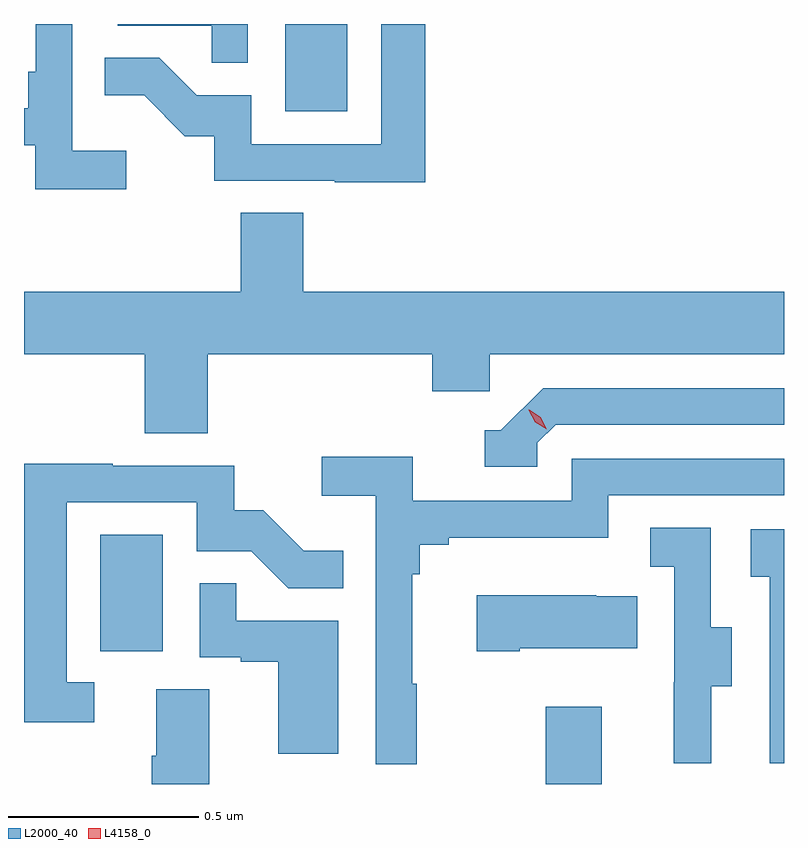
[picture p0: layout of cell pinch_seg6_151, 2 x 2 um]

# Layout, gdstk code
import gdstk
lib = gdstk.Library(unit=1e-6, precision=1e-09)
def R(c, l, rs):  # rectangles x0, y0, x1, y1
    for r in rs: c.add(gdstk.rectangle(r[:2], r[2:], *l))
def P(c, l, *ps):  # polygons
    for p in ps: c.add(gdstk.Polygon(p, *l))
L2000_40 = (2000, 40)
L4158_0 = (4158, 0)

pinch_seg6_151 = lib.new_cell('pinch_seg6_151')
R(pinch_seg6_151, L2000_40, [(970.354,920.897,970.501,921.1), (969.182,921.246,969.346,921.553), (969.668,922.668,969.832,922.897)])
P(pinch_seg6_151, L2000_40, [(969.57,922.897),(969.228,922.897),(969.228,922.893),(969.475,922.893),(969.475,922.795),(969.57,922.795)],
  [(969.25,922.564),(969.108,922.564),(969.108,922.897),(969.012,922.897),(969.012,922.771),(968.992,922.771),(968.992,922.675),(968.981,922.675),(968.981,922.578),(969.011,922.578),(969.011,922.462),(969.25,922.462)],
  [(970.037,922.897),(969.921,922.897),(969.921,922.581),(969.579,922.581),(969.579,922.71),(969.435,922.71),(969.337,922.808),(969.193,922.808),(969.193,922.709),(969.297,922.709),(969.404,922.602),(969.481,922.602),(969.481,922.485),(969.799,922.485),(969.799,922.48),(970.037,922.48)],
  [(969.464,922.028),(970.055,922.028),(970.055,921.93),(970.206,921.93),(970.206,922.028),(970.981,922.028),(970.981,922.192),(969.716,922.192),(969.716,922.4),(969.551,922.4),(969.551,922.192),(968.981,922.192),(968.981,922.028),(969.299,922.028),(969.299,921.82),(969.464,921.82)],
  [(970.332,921.795),(970.38,921.843),(970.981,921.843),(970.981,921.939),(970.347,921.939),(970.236,921.828),(970.193,921.828),(970.193,921.732),(970.332,921.732)],
  [(970.015,921.161),(970.003,921.161),(970.003,921.449),(970.022,921.449),(970.022,921.526),(970.099,921.526),(970.099,921.545),(970.518,921.545),(970.518,921.657),(970.981,921.657),(970.981,921.753),(970.422,921.753),(970.422,921.642),(970.004,921.642),(970.004,921.758),(969.765,921.758),(969.765,921.656),(969.906,921.656),(969.906,920.949),(970.015,920.949)],
  [(969.166,921.165),(969.093,921.165),(969.093,921.639),(969.435,921.639),(969.435,921.51),(969.579,921.51),(969.677,921.412),(969.821,921.412),(969.821,921.511),(969.717,921.511),(969.61,921.618),(969.534,921.618),(969.534,921.735),(969.215,921.735),(969.215,921.74),(968.981,921.74),(968.981,921.06),(969.166,921.06)],
  [(970.789,921.154),(970.843,921.154),(970.843,921.309),(970.788,921.309),(970.788,921.572),(970.629,921.572),(970.629,921.469),(970.692,921.469),(970.692,921.165),(970.691,921.165),(970.691,920.952),(970.789,920.952)],
  [(970.981,921.567),(970.893,921.567),(970.893,921.443),(970.944,921.443),(970.944,920.952),(970.981,920.952)],
  [(969.808,921.327),(969.539,921.327),(969.539,921.425),(969.444,921.425),(969.444,921.231),(969.551,921.231),(969.551,921.219),(969.65,921.219),(969.65,920.976),(969.808,920.976)],
  [(970.285,921.254),(970.595,921.254),(970.595,921.391),(970.487,921.391),(970.487,921.394),(970.173,921.394),(970.173,921.247),(970.285,921.247)],
  [(969.469,921.146),(969.329,921.146),(969.329,920.972),(969.317,920.972),(969.317,920.897),(969.469,920.897)])
P(pinch_seg6_151, L4158_0, [(970.357,921.83),(970.326,921.849),(970.309,921.881),(970.309,921.882),(970.31,921.882),(970.341,921.862),(970.357,921.83),(970.357,921.83)])

lib.write_gds('pinch_seg6_151.gds')
